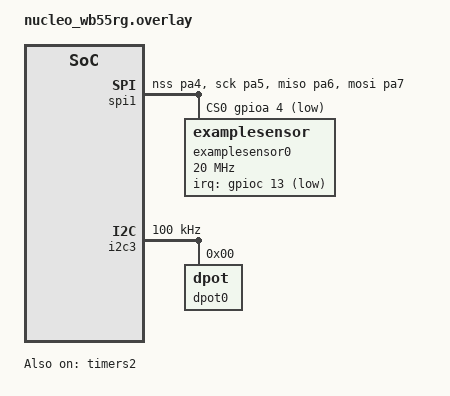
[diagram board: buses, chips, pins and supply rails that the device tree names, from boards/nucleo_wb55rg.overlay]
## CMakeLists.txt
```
#-------------------------------------------------------------------------------
# Zephyr Example Application
#
# Copyright (c) 2021 Nordic Semiconductor ASA
# SPDX-License-Identifier: Apache-2.0

cmake_minimum_required(VERSION 3.13.1)
find_package(Zephyr REQUIRED HINTS $ENV{ZEPHYR_BASE})

project(app LANGUAGES C VERSION 1.0.0)

configure_file(app_version.h.in ${CMAKE_BINARY_DIR}/app/include/app_version.h)
target_include_directories(app PRIVATE ${CMAKE_BINARY_DIR}/app/include src)

target_sources(app PRIVATE src/main.c)

#FILE(GLOB app_sources src/*.c)
FILE(GLOB app_sources src/egadc.c src/MCP356X.c src/MCP45HVX1.c src/dpot.c src/bt.c)
target_sources(app PRIVATE ${app_sources})
```

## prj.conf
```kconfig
# Copyright (c) 2021 Nordic Semiconductor ASA
# SPDX-License-Identifier: Apache-2.0
#
# This file contains selected Kconfig options for the application.


CONFIG_BT=y
CONFIG_BT_PERIPHERAL=y
CONFIG_BT_SMP=y
CONFIG_TINYCRYPT=y
CONFIG_BT_DEVICE_NAME="ESP peripheral"
CONFIG_BT_DIS=y
CONFIG_BT_DIS_PNP=n
CONFIG_BT_BAS=y
CONFIG_BT_DEVICE_APPEARANCE=768


#CONFIG_BT_MESH_ADV_STACK_SIZE=2048
#CONFIG_BT_RX_STACK_SIZE=4096
#CONFIG_MAIN_STACK_SIZE=2048


#CONFIG_SENSOR=y
#CONFIG_SPI_INIT_PRIORITY=70
#CONFIG_ADC_INIT_PRIORITY=71
CONFIG_SPI=y
#CONFIG_ADC=y
CONFIG_I2C=y



CONFIG_PRINTK=y
CONFIG_LOG=y
CONFIG_LOG_BUFFER_SIZE=2048
CONFIG_LOG_BACKEND_SHOW_COLOR=n

# This causes ***** MPU FAULT ***** when bluetooth is connecting
CONFIG_LOG_MODE_IMMEDIATE=n

CONFIG_NEWLIB_LIBC=y
CONFIG_NEWLIB_LIBC_FLOAT_PRINTF=y

CONFIG_BUILD_WITH_TFM=y
CONFIG_TFM_PROFILE_TYPE_MEDIUM=y
CONFIG_COUNTER=y
CONFIG_COUNTER_INIT_PRIORITY=50
CONFIG_COUNTER_TIMER_STM32=y
CONFIG_COUNTER_RTC_STM32=y
```

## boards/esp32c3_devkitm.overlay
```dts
/*
 * Copyright (c) 2021 Nordic Semiconductor ASA
 * SPDX-License-Identifier: Apache-2.0
 */

/* This devicetree overlay file will be automatically picked by the Zephyr
 * build system when building the sample for the nucleo_f302r8 board. It shows
 * how the example-application can be built on sample boards already provided
 * by Zephyr.
 */

/ {

};

&gpio0 {
	status = "okay";
};

// Connect cables as following:
// ADC PCB    cable color   ESP32C3-DevKitC
// =========================================
// ADC_CS     ---green----  SPIM2_CSEL_GPIO10
// ADC_SCK    ---white----  SPIM2_SCLK_GPIO6
// ADC_SDI    ---yellow---  SPIM2_MOSI_GPIO7
// ADC_SDO    ---gray-----  SPIM2_MISO_GPIO2
// ADC_INT    ---purple---  GPIO19

&spi2 {
    status = "okay";
    // pinctrl-0 = <&SPIM2_CSEL_GPIO10 &SPIM2_SCLK_GPIO6 &SPIM2_MISO_GPIO2 &SPIM2_MOSI_GPIO7>;
	pinctrl-0 = <&spim2_default>;
    // cs-gpios = <&gpio0 10 GPIO_ACTIVE_LOW>;
	examplesensor0: examplesensor@0 {
		compatible = "zephyr,examplesensor";
		spi-max-frequency = <2000000>;
        irq-gpios = <&gpio0 19 GPIO_ACTIVE_LOW>;
		reg = <0>;
	};
};
```

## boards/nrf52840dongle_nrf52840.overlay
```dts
/*
 * Copyright (c) 2021 Nordic Semiconductor ASA
 * SPDX-License-Identifier: Apache-2.0
 */

/* This devicetree overlay file will be automatically picked by the Zephyr
 * build system when building the sample for the nucleo_f302r8 board. It shows
 * how the example-application can be built on sample boards already provided
 * by Zephyr.
 */

/ {
	examplesensor0: examplesensor_0 {
		compatible = "zephyr,examplesensor";
		label = "EXAMPLESENSOR_0";
		input-gpios = <&gpio0 13 (GPIO_PULL_UP | GPIO_ACTIVE_LOW)>;
	};
};

&gpio0 {
	status = "okay";
};
```

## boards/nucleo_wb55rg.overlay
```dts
/*
 * Copyright (c) 2021 Nordic Semiconductor ASA
 * SPDX-License-Identifier: Apache-2.0
 */

/* This devicetree overlay file will be automatically picked by the Zephyr
 * build system when building the sample for the nucleo_f302r8 board. It shows
 * how the example-application can be built on sample boards already provided
 * by Zephyr.
 */

/ {

};

&gpioc {
	status = "okay";
};

// https://os.mbed.com/platforms/ST-Nucleo-WB55RG/
// https://github.com/zephyrproject-rtos/zephyr/blob/main/boards/arm/nucleo_wb55rg/nucleo_wb55rg.dts
// ADC pin CSK ---orange--- (PA5,D13,20,SCK)
// ADC pin SDO ---yellow--- (PA6,D12,21,MISO)
// ADC pin SDI ---green---- (PA7,D11,22,MOSI)
// ADC pin CS  ---white---- (PA4,D10)
// ADC pin INT ---blue----- (PC13,D7)
// https://github.com/zephyrproject-rtos/zephyr-testing/blob/0f09360456592ecf0d0413352dc1ef5d23cd0364/include/drivers/spi.h#L252
// https://github.com/zephyrproject-rtos/zephyr-testing/blob/2fc0ace3c2462cb33dc8c25e33c629cedba08ebb/boards/arm/rm1xx_dvk/rm1xx_dvk.dts#L60
// https://github.com/zephyrproject-rtos/zephyr/blob/ee91cd5665b1590c9a8a9a992bb19d81feeeb461/boards/arm/bt610/bt610.dts#L268


// Connect cables as following:
// ADC PCB |  cable color | CN10 | CN9 |ST-Nucleo-WB55RG
// ========|==============|======|=====|======
// ADC_CS  |  ---green----| 17   | D10 | (PA4)
// ADC_SCK |  ---white----| 11   | D13 | (PA5,20,SCK)
// ADC_SDI |  ---yellow---| 15   | D11 | (PA7,22,MOSI)
// ADC_SDO |  ---gray-----| 13   | D12 | (PA6,21,MISO)
// ADC_INT |  ---purple---| 23   | D7  | (PC13)



&spi1 {
    status = "okay";
    pinctrl-0 = <&spi1_nss_pa4 &spi1_sck_pa5 &spi1_miso_pa6 &spi1_mosi_pa7>;
    cs-gpios = <&gpioa 4 GPIO_ACTIVE_LOW>;
	examplesensor0: examplesensor@0 {
		compatible = "zephyr,examplesensor";
		spi-max-frequency = <20000000>;
        irq-gpios = <&gpioc 13 GPIO_ACTIVE_LOW>;
		reg = <0>;
	};
};

&i2c3 {
    status = "okay";
	clock-frequency = <I2C_BITRATE_STANDARD>;
	dpot0: dpot@0 {
		compatible = "zephyr,dpot";
		reg = <0>;
	};
};


&timers2 {
	status = "okay";
	counters2: counter {
		compatible = "st,stm32-counter";
		status = "okay";
		label = "COUNTER_2";
	};
};
```

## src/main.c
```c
/*
west build -p -b nucleo_wb55rg
west build -p -b esp32c3_devkitm

Timer for nucleo_wb55rg:
https://github.com/zephyrproject-rtos/zephyr/discussions/47033
https://github.com/zephyrproject-rtos/zephyr/blob/main/samples/drivers/counter/alarm/src/main.c

*/

#include <zephyr/device.h>
#include <zephyr/devicetree.h>
#include <zephyr/kernel.h>
#include <zephyr/drivers/spi.h>
#include <zephyr/drivers/counter.h>
#include <zephyr/sys/util.h>
#include <stdint.h>
#include <stdio.h>


#include "app_version.h"
#include "egadc.h"
#include "dpot.h"
#include "bt.h"

#include <zephyr/logging/log.h>
LOG_MODULE_REGISTER(main, CONFIG_APP_LOG_LEVEL);
//struct spi_dt_spec bus = SPI_DT_SPEC_GET(DT_NODELABEL(mcp3204), SPI_WORD_SET(8) | SPI_MODE_GET(0), 1);


// The ADC9 uses 2000mV voltage ref chip MCP1501
#define ADC9_VREF_MICRO_VOLT 2048*1000
#define TIABT_VREF_MICRO_VOLT 3000*1000




//#define TIMER DT_NODELABEL(counters2)

#if defined(CONFIG_BOARD_ATSAMD20_XPRO)
#define TIMER DT_NODELABEL(tc4)
#elif defined(CONFIG_SOC_FAMILY_SAM)
#define TIMER DT_NODELABEL(tc0)
#elif defined(CONFIG_COUNTER_MICROCHIP_MCP7940N)
#define TIMER DT_NODELABEL(extrtc0)
#elif defined(CONFIG_COUNTER_NRF_RTC)
#define TIMER DT_NODELABEL(rtc0)
#elif defined(CONFIG_COUNTER_TIMER_STM32)
#define TIMER DT_INST(0, st_stm32_counter)
#elif defined(CONFIG_COUNTER_RTC_STM32)
#define TIMER DT_INST(0, st_stm32_rtc)
#elif defined(CONFIG_COUNTER_SMARTBOND_TIMER)
#define TIMER DT_NODELABEL(timer3)
#elif defined(CONFIG_COUNTER_NATIVE_POSIX)
#define TIMER DT_NODELABEL(counter0)
#elif defined(CONFIG_COUNTER_XLNX_AXI_TIMER)
#define TIMER DT_INST(0, xlnx_xps_timer_1_00_a)
#elif defined(CONFIG_COUNTER_TMR_ESP32)
#define TIMER DT_NODELABEL(timer0)
#elif defined(CONFIG_COUNTER_MCUX_CTIMER)
#define TIMER DT_NODELABEL(ctimer0)
#elif defined(CONFIG_COUNTER_NXP_S32_SYS_TIMER)
#define TIMER DT_NODELABEL(stm0)
#elif defined(CONFIG_COUNTER_TIMER_GD32)
#define TIMER DT_NODELABEL(timer0)
#elif defined(CONFIG_COUNTER_GECKO_RTCC)
#define TIMER DT_NODELABEL(rtcc0)
#elif defined(CONFIG_COUNTER_GECKO_STIMER)
#define TIMER DT_NODELABEL(stimer0)
#elif defined(CONFIG_COUNTER_INFINEON_CAT1)
#define TIMER DT_NODELABEL(counter0_0)
#elif defined(CONFIG_COUNTER_AMBIQ)
#define TIMER DT_NODELABEL(counter0)
#elif defined(CONFIG_COUNTER_SNPS_DW)
#define TIMER DT_NODELABEL(timer0)
#endif




#if DT_NODE_HAS_STATUS(TIMER, okay)
const struct device *const counter_dev = DEVICE_DT_GET(TIMER);
#else
#error "Node is disabled"
#endif


struct counter_alarm_cfg alarm_cfg;


void app_print_voltage(struct mcp356x_config * c)
{
	// In single channel mode, any channel will be stored in channel 0:
	int index = MCP356X_CH_CH0;
	int32_t v_iir = MCP356X_raw_to_volt(c->raw_iir[index], TIABT_VREF_MICRO_VOLT, c->gain_reg);
	int32_t v_min = MCP356X_raw_to_volt(c->raw_min[index], TIABT_VREF_MICRO_VOLT, c->gain_reg);
	int32_t v_max = MCP356X_raw_to_volt(c->raw_max[index], TIABT_VREF_MICRO_VOLT, c->gain_reg);
	int32_t v_pp = v_max - v_min;
	printk("IRQ:%-3i DRDY:%-3i avg:%-8i min:%-8i max:%-8i pp:%-8i\n", c->num_irq, c->num_drdy, v_iir, v_min, v_max, v_pp);
	printk("IRQ:%-3i DRDY:%-3i avg:%-8i min:%-8i max:%-8i pp:%-8i\n", c->num_irq, c->num_drdy, v_iir, v_min, v_max, v_pp);
}

void app_print_voltage_ref(struct mcp356x_config * c)
{
	LOG_INF("Checking voltage reference");
	egadc_adc_value_reset(c);
	egadc_set_mux(c, MCP356X_MUX_VIN_NEG_AGND | MCP356X_MUX_VIN_POS_VREF_EXT_PLUS);
	int n = 10;
	while (n--)
	{
		app_print_voltage(c);
		egadc_adc_value_reset(c);
		k_sleep(K_MSEC(500));
	}
}

void app_print_temperature(struct mcp356x_config * c)
{
	egadc_adc_value_reset(c);
	LOG_INF("Checking temperature MCP356X_MUX_VIN_POS_TEMP");
	egadc_set_ch(c, MCP356X_CH_TEMP);
	int n = 10;
	while (n--)
	{
		int raw = c->raw_iir[MCP356X_CH_CH0];
		// TODO: I can't figure out why datasheet temperature transfer function does not work.
		//double celsius  = MCP356X_ADCDATA_to_temperature_o1(raw) * ((double)TIABT_VREF/(double)3300);
		//double celcius  = MCP356X_ADCDATA_to_temperature_o3(raw);

		// If we convert raw ADCDATA to millivolt then use datasheet celsius to mv function (we get correct temperature?)
		// https://www.eevblog.com/forum/microcontrollers/problems-with-internal-temperature-sensor-mcp3561/
		int32_t v = MCP356X_raw_to_volt(raw, TIABT_VREF_MICRO_VOLT, c->gain_reg);
		double celsius = ((double)v -79.32) / (0.2964*10000);
		printf("%08i %08i %20.10f C\n", raw, v, celsius);
		//printf("%04i %f C\n", voltage, celcius * (c->vref_mv / 3.3));
		k_sleep(K_MSEC(500));
	}
}









enum app_state
{
	APP_START,
	APP_WAITING,
	APP_INIT_ADC,
	APP_PRINT_ADC
};



struct mcp356x_config c = {
	.bus = SPI_DT_SPEC_GET(DT_NODELABEL(examplesensor0), SPI_WORD_SET(8) | SPI_MODE_GET(0), 1),
	.irq = GPIO_DT_SPEC_GET(DT_NODELABEL(examplesensor0), irq_gpios),
	.is_scan = false,
	//.gain_reg = MCP356X_CFG_2_GAIN_X_033,
	.gain_reg = MCP356X_CFG_2_GAIN_X_1,
};


struct mcp45hvx1_config c1 = {
	.bus = I2C_DT_SPEC_GET(DT_NODELABEL(dpot0))
};



enum my_leds
{
	MY_LEDS_OTHER,
	MY_LEDS_BEATS,
	MY_LEDS_WAITING,
	MY_LEDS_COUNT
};

#define LEDS_COUNT 3
static const struct gpio_dt_spec leds[LEDS_COUNT] = 
{
	GPIO_DT_SPEC_GET(DT_NODELABEL(blue_led_1), gpios), //Blue
	GPIO_DT_SPEC_GET(DT_NODELABEL(green_led_2), gpios), //Green
	GPIO_DT_SPEC_GET(DT_NODELABEL(green_led_3), gpios), //Red
};

#define DELAY 2000000
#define ALARM_CHANNEL_ID 0



static int dpot_inc = 0;
static uint8_t pot = 0;

static void test_counter_interrupt_fn(const struct device *counter_dev,uint8_t chan_id, uint32_t ticks,void *user_data)
{
	struct counter_alarm_cfg *config = user_data;
	uint32_t now_ticks;
	uint64_t now_usec;
	int now_sec;
	int err;

	err = counter_get_value(counter_dev, &now_ticks);
	if (err) {
		printk("Failed to read counter value (err %d)", err);
		return;
	}

	now_usec = counter_ticks_to_us(counter_dev, now_ticks);
	now_sec = (int)(now_usec / USEC_PER_SEC);
	dpot_inc = 1;
	//printk("dpot_inc %i\n", dpot_inc);

	//printk("!!! Alarm !!!\n");
	//printk("Now: %u\n", now_sec);

	/* Set a new alarm with a double length duration */
	config->ticks = config->ticks;

	//printk("Set alarm in %u sec (%u ticks)\n",(uint32_t)(counter_ticks_to_us(counter_dev,config->ticks) / USEC_PER_SEC),config->ticks);

	err = counter_set_channel_alarm(counter_dev, ALARM_CHANNEL_ID,
					user_data);
	if (err != 0) {
		printk("Alarm could not be set\n");
	}
}




int main(void)
{
	LOG_INF("examplesensor0 %s", "" DT_NODE_PATH(DT_NODELABEL(examplesensor0)));
	LOG_INF("dpot0 %s", "" DT_NODE_PATH(DT_NODELABEL(dpot0)));

	
	if (!device_is_ready(counter_dev)) {
		LOG_ERR("Timer device not ready.\n");
		return 0;
	}

	if (!spi_is_ready_dt(&c.bus)) {
		LOG_ERR("SPI bus is not ready %i", 0);
		return 0;
	}

	if (!i2c_is_ready_dt(&c1.bus)) {
		LOG_ERR("Failed to get pointer to %s device!", c1.bus.bus->name);
		return -EINVAL;
	}
	
	mybt_init();

	while(1) {
		mybt_progress();
		k_sleep(K_SECONDS(1));
	}

	/*
	dpot_setup(&c1);



	
	counter_start(counter_dev);
	alarm_cfg.flags = 0;
	alarm_cfg.ticks = counter_us_to_ticks(counter_dev, DELAY);
	alarm_cfg.callback = test_counter_interrupt_fn;
	alarm_cfg.user_data = &alarm_cfg;
	printk("Set alarm in %u sec (%u ticks)\n",
	       (uint32_t)(counter_ticks_to_us(counter_dev,
					   alarm_cfg.ticks) / USEC_PER_SEC),
	       alarm_cfg.ticks);
		   
	{
		int err = counter_set_channel_alarm(counter_dev, ALARM_CHANNEL_ID, &alarm_cfg);
		if (-EINVAL == err) {
			printk("Alarm settings invalid\n");
		} else if (-ENOTSUP == err) {
			printk("Alarm setting request not supported\n");
		} else if (err != 0) {
			printk("Error\n");
		}
	}
	
	while(1) {
		if(dpot_inc){
			dpot_set(&c1, pot++);
			dpot_inc = 0;
		};
		mybt_progress();
		k_sleep(K_MSEC(1));
	}
	//mybt_init();
	//while (1){k_sleep(K_MSEC(5000));}

	


	for(int i = 0; i < LEDS_COUNT; ++i)
	{
		int ret;
		if (!gpio_is_ready_dt(leds+i)) {return 0;}
		ret = gpio_pin_configure_dt(leds+i, GPIO_OUTPUT_ACTIVE);
		if (ret < 0) {return 0;}
		k_sleep(K_MSEC(500));
		ret = gpio_pin_set_dt(leds+i,1);
		if (ret < 0) {return 0;}
	}
	k_sleep(K_MSEC(500));
	for(int i = 0; i < LEDS_COUNT; ++i)
	{
		int ret = gpio_pin_set_dt(leds+i,0);
		if (ret < 0) {return 0;}
	}



	int appstate = APP_START;

	while (1)
	{
		{
			int ret = gpio_pin_toggle_dt(leds+MY_LEDS_BEATS);
			if (ret < 0) {return 0;}
		}

		if(c.status & EGADC_TIMEOUT_BIT)
		{
			appstate = APP_INIT_ADC;
			c.status &= ~EGADC_TIMEOUT_BIT;
		}


		switch (appstate)
		{
		case APP_WAITING:
			if(c.num_drdy > 0)
			{
				//app_print_voltage_ref(&c);
				//app_print_temperature(&c);
				egadc_set_ch(&c, MCP356X_CH_CH3);
				appstate = APP_PRINT_ADC;
			}
			else
			{
				LOG_INF("APP_WAITING No respond from ADC");
				gpio_pin_set_dt(leds + MY_LEDS_WAITING, 1);
				k_sleep(K_MSEC(500));
				gpio_pin_set_dt(leds + MY_LEDS_WAITING, 0);
				k_sleep(K_MSEC(500));
			}
			break;

		case APP_START:
			LOG_INF("APP_START");
			egadc_setup_board(&c);
			appstate = APP_INIT_ADC;
			break;

		case APP_INIT_ADC:
			LOG_INF("APP_INIT_ADC");
			egadc_setup_adc(&c);
			appstate = APP_WAITING;
			break;

		case APP_PRINT_ADC:{
			k_sleep(K_MSEC(1000));
			app_print_voltage(&c);
			egadc_adc_value_reset(&c);
			break;}

		default:
			break;
		}




		//printk("%08X\n", c.lastdata);
		
		
		//printk("%8i %8i\n", c.num_irq, c.num_drdy);
		//printk("    " MCP356X_PRINTF_HEADER "\n");
		//printk("avg " MCP356X_PRINTF_PLUS "\n", MCP356X_ARGS(c.avg));
		//printk("min " MCP356X_PRINTF_PLUS "\n", MCP356X_ARGS(c.val_min));
		//printk("max " MCP356X_PRINTF_PLUS "\n", MCP356X_ARGS(c.val_max));
		//printk("n   " MCP356X_PRINTF_PLUS "\n", MCP356X_ARGS(c.n));
		
		//egadc_log_REG_IRQ(&c.bus, MCP356X_REG_IRQ);

		
		
		//mybt_progress();
		//bt_bas_set_battery_level(i++);

		//k_sem_give(&c.acq_sem);
	}
	*/
}
```

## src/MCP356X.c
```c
#include "MCP356X.h"


char const * MCP356X_REG_tostring(int a)
{
	switch(a)
	{
	case MCP356X_REG_ADC_DATA    : return "MCP356X_REG_ADC_DATA    ";
	case MCP356X_REG_CFG_0       : return "MCP356X_REG_CFG_0       ";
	case MCP356X_REG_CFG_1       : return "MCP356X_REG_CFG_1       ";
	case MCP356X_REG_CFG_2       : return "MCP356X_REG_CFG_2       ";
	case MCP356X_REG_CFG_3       : return "MCP356X_REG_CFG_3       ";
	case MCP356X_REG_IRQ         : return "MCP356X_REG_IRQ         ";
	case MCP356X_REG_MUX         : return "MCP356X_REG_MUX         ";
	case MCP356X_REG_SCAN        : return "MCP356X_REG_SCAN        ";
	case MCP356X_REG_TIMER       : return "MCP356X_REG_TIMER       ";
	case MCP356X_REG_OFFSET_CAL  : return "MCP356X_REG_OFFSET_CAL  ";
	case MCP356X_REG_GAIN_CAL    : return "MCP356X_REG_GAIN_CAL    ";
	case MCP356X_RSV_REG_W_A     : return "MCP356X_RSV_REG_W_A     ";
	case MCP356X_REG_LOCK        : return "MCP356X_REG_LOCK        ";
	case MCP356X_RSV_REG         : return "MCP356X_RSV_REG         ";
	case MCP356X_REG_CRC_CFG     : return "MCP356X_REG_CRC_CFG     ";
	default:return "";
	}
}







/*
111 = Gain is x64 (x16 analog, x4 digital)
110 = Gain is x32 (x16 analog, x2 digital)
101 = Gain is x16
100 = Gain is x8
011 = Gain is x4
010 = Gain is x2
001 = Gain is x1 (default)
000 = Gain is x1/3


Formula

ADC * VREF / (COEF * GAIN)



*/

int32_t MCP356X_raw_to_millivolt(int32_t raw, int32_t vref_mv, uint8_t gain_reg)
{
	int32_t c = (MCP356X_CALC_COEF / vref_mv);
	switch(gain_reg)
	{
	case MCP356X_CFG_2_GAIN_X_64  : c *= 64; break;
	case MCP356X_CFG_2_GAIN_X_32  : c *= 32; break;
	case MCP356X_CFG_2_GAIN_X_16  : c *= 16; break;
	case MCP356X_CFG_2_GAIN_X_8   : c *= 8; break;
	case MCP356X_CFG_2_GAIN_X_4   : c *= 4; break;
	case MCP356X_CFG_2_GAIN_X_2   : c *= 2; break;
	case MCP356X_CFG_2_GAIN_X_1   : c *= 1; break;
	case MCP356X_CFG_2_GAIN_X_033 : c /= 3; break;
	}
	int32_t mv;
	mv = raw / c;
	return mv;
}


int64_t MCP356X_raw_to_volt(int32_t raw, int32_t vref, uint8_t gain_reg)
{
	//return MCP356X_raw_to_millivolt(raw, vref, gain_reg);
	int64_t numerator = (int64_t)raw * (int64_t)vref;
	int64_t denominator = MCP356X_CALC_COEF;
	switch(gain_reg)
	{
	case MCP356X_CFG_2_GAIN_X_64  : denominator *= 64; break;
	case MCP356X_CFG_2_GAIN_X_32  : denominator *= 32; break;
	case MCP356X_CFG_2_GAIN_X_16  : denominator *= 16; break;
	case MCP356X_CFG_2_GAIN_X_8   : denominator *= 8; break;
	case MCP356X_CFG_2_GAIN_X_4   : denominator *= 4; break;
	case MCP356X_CFG_2_GAIN_X_2   : denominator *= 2; break;
	case MCP356X_CFG_2_GAIN_X_1   : denominator *= 1; break;
	case MCP356X_CFG_2_GAIN_X_033 : denominator /= 3; break;
	}
	int64_t result = numerator / denominator;
	return result;
}





/*
In DATA_FORMAT[1:0] = 11, the output code is similar
to the one in DATA_FORMAT[1:0] = 10. The only differ-
ence resides in the four MSbs of the first byte, which
are no longer repeats of the Sign bit (SGN). They are
the Channel ID data (CH_ID[3:0]) that are defined in
Table 5-14. This CH_ID[3:0] word can be used to verify
that the right channel has been converted to SCAN
mode and can serve easy data retrieval and logging
(see Section 5.14 “SCAN Mode” for more details
about the SCAN mode). In MUX mode, this 4-bit word
is defaulted to ‘0000’ and does not vary with the
MUX[7:0] selection. This format is useful for 32-bit
MCU applications.
*/
void MCP356X_ADC_DATA_decode_11(uint8_t rx[5], int32_t * out_value, uint8_t * out_channel)
{
	(*out_channel) = (rx[1] >> 4) & 0x0F;
	uint8_t sign = rx[1] & 0x01;
	(*out_value) = (rx[2] << 16) | (rx[3] << 8) | (rx[4] << 0);
	if (sign != 0)
	{
		(*out_value) -= 16777215;
	}
}




uint32_t MCP356X_get_len(uint8_t reg)
{
	switch(reg)
	{
	case MCP356X_REG_ADC_DATA:
		return 4; // 32 bit
	case MCP356X_REG_CFG_0:
	case MCP356X_REG_CFG_1:
	case MCP356X_REG_CFG_2:
	case MCP356X_REG_CFG_3:
	case MCP356X_REG_IRQ:
	case MCP356X_REG_MUX:
		return 1; // 8 bit
	case MCP356X_REG_SCAN:
	case MCP356X_REG_TIMER:
	case MCP356X_REG_OFFSET_CAL:
	case MCP356X_REG_GAIN_CAL:
	case MCP356X_RSV_REG_W_A:
		return 3; // 24 bit
	case MCP356X_REG_C:
	case MCP356X_REG_LOCK:
		return 1; // 8 bit
	case MCP356X_RSV_REG:
	case MCP356X_REG_CRC_CFG:
		return 2; // 16 bit
	default:
		return 0;
		break;
	}
}


uint32_t MCP356X_get_value(uint8_t rx[5], uint8_t len)
{
	switch (len)
	{
	case 1: return (rx[1] << 0);
	case 2: return (rx[1] << 8) | (rx[2] << 0);
	case 3: return (rx[1] << 16) | (rx[2] << 8) | (rx[3] << 0);
	case 4: return (rx[1] << 24) | (rx[2] << 16) | (rx[3] << 8) | (rx[4] << 0);
	default: return 0;
	}
}


void MCP356X_set_value(uint8_t tx[5], uint8_t len, uint32_t value)
{
	switch (len)
	{
	case 1:
		tx[1] = ( value >> 0 ) & 0xFF;
		break;
	case 2:
		tx[1] = ( value >> 8 ) & 0xFF;
		tx[2] = ( value >> 0 ) & 0xFF;
		break;
	case 3:
		tx[1] = ( value >> 16 ) & 0xFF;
		tx[2] = ( value >> 8 ) & 0xFF;
		tx[3] = ( value >> 0 ) & 0xFF;
		break;
	case 4:
		tx[1] = ( value >> 24 ) & 0xFF;
		tx[2] = ( value >> 16 ) & 0xFF;
		tx[3] = ( value >> 8 ) & 0xFF;
		tx[4] = ( value >> 0 ) & 0xFF;
		break;
	default:
		tx[1] = 0;
		tx[2] = 0;
		tx[3] = 0;
		tx[4] = 0;
		break;
	}
}



uint8_t MCP356X_get_scan_channel_gain(uint8_t channel)
{
	switch (channel)
	{
	case MCP356X_CH_OFFSET  : return MCP356X_CFG_2_GAIN_X_1;
	case MCP356X_CH_VCM     : return MCP356X_CFG_2_GAIN_X_1;
	case MCP356X_CH_AVDD    : return MCP356X_CFG_2_GAIN_X_033;
	case MCP356X_CH_TEMP    : return MCP356X_CFG_2_GAIN_X_1;
	case MCP356X_CH_DIFF_D  : return MCP356X_CFG_2_GAIN_X_1;
	case MCP356X_CH_DIFF_C  : return MCP356X_CFG_2_GAIN_X_1;
	case MCP356X_CH_DIFF_B  : return MCP356X_CFG_2_GAIN_X_1;
	case MCP356X_CH_DIFF_A  : return MCP356X_CFG_2_GAIN_X_1;
	case MCP356X_CH_CH7     : return MCP356X_CFG_2_GAIN_X_1;
	case MCP356X_CH_CH6     : return MCP356X_CFG_2_GAIN_X_1;
	case MCP356X_CH_CH5     : return MCP356X_CFG_2_GAIN_X_1;
	case MCP356X_CH_CH4     : return MCP356X_CFG_2_GAIN_X_1;
	case MCP356X_CH_CH3     : return MCP356X_CFG_2_GAIN_X_1;
	case MCP356X_CH_CH2     : return MCP356X_CFG_2_GAIN_X_1;
	case MCP356X_CH_CH1     : return MCP356X_CFG_2_GAIN_X_1;
	case MCP356X_CH_CH0     : return MCP356X_CFG_2_GAIN_X_1;
	default                 : return 0xFF;
	}
}





char const * MCP356X_MUX_POS_to_str(uint32_t value)
{
	switch(value & 0xF0)
	{
		case MCP356X_MUX_VIN_POS_VCM            : return "VCM           ";
		case MCP356X_MUX_VIN_POS_TEMP_M         : return "TEMP_M        ";
		case MCP356X_MUX_VIN_POS_TEMP_P         : return "TEMP_P        ";
		case MCP356X_MUX_VIN_POS_VREF_EXT_MINUS : return "VREF_EXT_MINUS";
		case MCP356X_MUX_VIN_POS_VREF_EXT_PLUS  : return "VREF_EXT_PLUS ";
		case MCP356X_MUX_VIN_POS_VREF_INT       : return "VREF_INT      ";
		case MCP356X_MUX_VIN_POS_AVDD           : return "AVDD          ";
		case MCP356X_MUX_VIN_POS_AGND           : return "AGND          ";
		case MCP356X_MUX_VIN_POS_CH7            : return "CH7           ";
		case MCP356X_MUX_VIN_POS_CH6            : return "CH6           ";
		case MCP356X_MUX_VIN_POS_CH5            : return "CH5           ";
		case MCP356X_MUX_VIN_POS_CH4            : return "CH4           ";
		case MCP356X_MUX_VIN_POS_CH3            : return "CH3           ";
		case MCP356X_MUX_VIN_POS_CH2            : return "CH2           ";
		case MCP356X_MUX_VIN_POS_CH1            : return "CH1           ";
		case MCP356X_MUX_VIN_POS_CH0            : return "CH0           ";
		default: return "";
	}
}

char const * MCP356X_MUX_NEG_to_str(uint32_t value)
{
	switch(value & 0x0F)
	{
		case MCP356X_MUX_VIN_NEG_VCM            : return "VCM           ";
		case MCP356X_MUX_VIN_NEG_TEMP_M         : return "TEMP_M        ";
		case MCP356X_MUX_VIN_NEG_TEMP_P         : return "TEMP_P        ";
		case MCP356X_MUX_VIN_NEG_VREF_EXT_MINUS : return "VREF_EXT_MINUS";
		case MCP356X_MUX_VIN_NEG_VREF_EXT_PLUS  : return "VREF_EXT_PLUS ";
		case MCP356X_MUX_VIN_NEG_VREF_INT       : return "VREF_INT      ";
		case MCP356X_MUX_VIN_NEG_AVDD           : return "AVDD          ";
		case MCP356X_MUX_VIN_NEG_AGND           : return "AGND          ";
		case MCP356X_MUX_VIN_NEG_CH7            : return "CH7           ";
		case MCP356X_MUX_VIN_NEG_CH6            : return "CH6           ";
		case MCP356X_MUX_VIN_NEG_CH5            : return "CH5           ";
		case MCP356X_MUX_VIN_NEG_CH4            : return "CH4           ";
		case MCP356X_MUX_VIN_NEG_CH3            : return "CH3           ";
		case MCP356X_MUX_VIN_NEG_CH2            : return "CH2           ";
		case MCP356X_MUX_VIN_NEG_CH1            : return "CH1           ";
		case MCP356X_MUX_VIN_NEG_CH0            : return "CH0           ";
		default: return "";
	}
}


// DS20006181C-page 34
// EQUATION 5-1: TEMPERATURE SENSOR TRANSFER FUNCTION
double MCP356X_ADCDATA_to_temperature_o1(int32_t adcdata)
{
	float ret = 0.00133 * adcdata - 267.146;
	return ret;
}

double MCP356X_ADCDATA_to_temperature_o3(int32_t adcdata)
{
	const double a3 = -3.904E-15;
	const double a2 = 3.814E-9;
	const double a1 = 0.0002;
	double ret = 
	a1 * (adcdata * adcdata * adcdata) + 
	a2 * (adcdata * adcdata) + 
	a3 * (adcdata) - 163.978;
	return ret;
}






// TABLE 5-14: ADC CHANNEL SELECTION
// DS20006181C-page 54
uint8_t MCP356X_channel_to_mux(uint8_t channel)
{
	switch (channel)
	{
	case MCP356X_CH_CH0: return MCP356X_MUX_VIN_NEG_AGND | MCP356X_MUX_VIN_POS_CH0;
	case MCP356X_CH_CH1: return MCP356X_MUX_VIN_NEG_AGND | MCP356X_MUX_VIN_POS_CH1;
	case MCP356X_CH_CH2: return MCP356X_MUX_VIN_NEG_AGND | MCP356X_MUX_VIN_POS_CH2;
	case MCP356X_CH_CH3: return MCP356X_MUX_VIN_NEG_AGND | MCP356X_MUX_VIN_POS_CH3;
	case MCP356X_CH_CH4: return MCP356X_MUX_VIN_NEG_AGND | MCP356X_MUX_VIN_POS_CH4;
	case MCP356X_CH_CH5: return MCP356X_MUX_VIN_NEG_AGND | MCP356X_MUX_VIN_POS_CH5;
	case MCP356X_CH_CH6: return MCP356X_MUX_VIN_NEG_AGND | MCP356X_MUX_VIN_POS_CH6;
	case MCP356X_CH_DIFF_A: return MCP356X_MUX_VIN_NEG_CH1 | MCP356X_MUX_VIN_POS_CH0;
	case MCP356X_CH_DIFF_B: return MCP356X_MUX_VIN_NEG_CH3 | MCP356X_MUX_VIN_POS_CH2;
	case MCP356X_CH_DIFF_C: return MCP356X_MUX_VIN_NEG_CH5 | MCP356X_MUX_VIN_POS_CH4;
	case MCP356X_CH_DIFF_D: return MCP356X_MUX_VIN_NEG_CH7 | MCP356X_MUX_VIN_POS_CH6;
	case MCP356X_CH_TEMP: return MCP356X_MUX_VIN_NEG_TEMP_M | MCP356X_MUX_VIN_POS_TEMP_P;
	case MCP356X_CH_AVDD: return MCP356X_MUX_VIN_NEG_AGND | MCP356X_MUX_VIN_POS_AVDD;
	case MCP356X_CH_VCM: return MCP356X_MUX_VIN_NEG_VCM | MCP356X_MUX_VIN_POS_CH0;
	case MCP356X_CH_OFFSET: return MCP356X_MUX_VIN_NEG_AGND | MCP356X_MUX_VIN_NEG_AGND;
	}
	return 0;
}
```

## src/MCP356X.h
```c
#pragma once
#include <stdint.h>

// https://github.com/MikroElektronika/mikrosdk_click_v2
// https://github.com/MikroElektronika/mikrosdk_click_v2/tree/master/clicks/adc9
// https://github.com/jspark311/MCP356x-Breakout/blob/6cc57254ad991eba59b2607941b86dc148f06eaf/Arduino/src/MCP356x.cpp
// 





/*****************************************************************
6.2.1 COMMAND BYTE STRUCTURE
The COMMAND byte fully defines the command that
will be executed by the part. This byte is divided into
three parts: the device address bits (CMD[7:6]), the
command address bits (CMD[5:2]) and the
command-type bits (CMD[1:0]).
*****************************************************************/
#define MCP356X_COMMAND_BYTE(addr, cmd, type) (((addr)<<6) | ((cmd)<<2) | ((type)<<0))

/*****************************************************************
6.2.2 DEVICE ADDRESS BITS (CMD[7:6])
The SPI interface of the MCP3561/2/4 devices is
addressable, which means that multiple devices can
communicate on the same SPI bus with only one Chip
Select line for all devices. Each device communication
starts by a CS falling edge, followed by the clocking of
the device address (CMD[7:6]). Each device contains
an internal device address which the device can
respond to.
This address is coded on two bits, so four possible
addresses are available. Device address is hard-coded
within the device and should be determined when
ordering the device. The device address is part of the
device markings to avoid potential confusion (see
Sections 9.1 “Package Marking Information(1)”).
When the CMD[7:6] bits match the device address, the
communication will proceed and the part will execute
the commands defined in the control byte and its
subsequent data bytes.
When the CMD[7:6] bits do not correspond to the
address hard-coded in the device, the command is
ignored. In this case, the SDO output will become
high-impedance, which prevents bus contention errors
when multiple devices are connected on the same SPI
bus (see Figure 6-2). The user has to exit from this
communication through a CS rising edge to be able to
launch another command.
*****************************************************************/
#define MCP356X_DEVICE_ADR                   0x01 // CMD[7:6]

/*****************************************************************
6.2.4 COMMAND-TYPE BITS (CMD[1:0])
The last two bits of the COMMAND register byte define
the command type. These bits are an extension of the
typical read/write bits present in most SPI communica-
tion protocols. The two bits define four possible
command types: Incremental Write, Incremental Read,
Static Read and Fast command. Changing the com-
mand type within the same communication (while CS is
logic low) is not possible. The communication has to be
stopped (CS rising edge) and restarted (CS falling
edge) to change its command type.
*****************************************************************/
#define MCP356X_CMD_DONT_CARE                0x00
#define MCP356X_CMD_STAT_READ                0x01
#define MCP356X_CMD_INC_WRITE                0x02
#define MCP356X_CMD_INC_READ                 0x03

/*****************************************************************
8.0 INTERNAL REGISTERS
The MCP3561/2/4 devices have a total of 16 internal
registers made of volatile memory.
*****************************************************************/

/*
8.1 ADCDATA Register
The data can be
formatted in 24/32-bit modes depending on the DATA_FORMAT
*/
#define MCP356X_REG_ADC_DATA                 0x00 // | 4/24/32 | R  | 
#define MCP356X_REG_CFG_0                    0x01 // | 8       | RW | 
#define MCP356X_REG_CFG_1                    0x02 // | 8       | RW | 
#define MCP356X_REG_CFG_2                    0x03 // | 8       | RW | 
#define MCP356X_REG_CFG_3                    0x04 // | 8       | RW | 
#define MCP356X_REG_IRQ                      0x05 // | 8       | RW | 
#define MCP356X_REG_MUX                      0x06 // | 8       | RW | 
#define MCP356X_REG_SCAN                     0x07 // | 24      | RW | 
#define MCP356X_REG_TIMER                    0x08 // | 24      | RW | 
#define MCP356X_REG_OFFSET_CAL               0x09 // | 24      | RW | 
#define MCP356X_REG_GAIN_CAL                 0x0A // | 24      | RW | 
#define MCP356X_RSV_REG_W_A                  0x0B // | 24      | RW | 
#define MCP356X_REG_C                        0x0C // | 8       | RW | 
#define MCP356X_REG_LOCK                     0x0D // | 8       | RW | 
#define MCP356X_RSV_REG                      0x0E // | 16      | RW | 
#define MCP356X_REG_CRC_CFG                  0x0F // | 16      | R  | 



/*
Address Register Name No. of
Bits R/W Description
0x0 ADCDATA 4/24/32 R Latest A/D conversion data output value (24 or 32 bits depending on
DATA_FORMAT[1:0]) or modulator output stream (4-bit wide) in MDAT
Output mode
0x1 CONFIG0 8 R/W ADC Operating mode, Master Clock mode and Input Bias Current
Source mode
0x2 CONFIG1 8 R/W Prescale and OSR settings
0x3 CONFIG2 8 R/W ADC boost and gain settings, auto-zeroing settings for analog
multiplexer, voltage reference and ADC
0x4 CONFIG3 8 R/W Conversion mode, data and CRC format settings; enable for CRC on
communications, enable for digital offset and gain error calibrations
0x5 IRQ 8 R/W IRQ Status bits and IRQ mode settings; enable for Fast commands and
for conversion start pulse
0x6 MUX 8 R/W Analog multiplexer input selection (MUX mode only)
0x7 SCAN 24 R/W SCAN mode settings
0x8 TIMER 24 R/W Delay value for TIMER between scan cycles
0x9 OFFSETCAL 24 R/W ADC digital offset calibration value
0xA GAINCAL 24 R/W ADC digital gain calibration value
0xB RESERVED 24 R/W
0xC RESERVED 8 R/W
0xD LOCK 8 R/W Password value for SPI Write mode locking
0xE RESERVED 16 R/W
0xF CRCCFG 16 R CRC checksum for device configuration
*/





















/*****************************************************************
8.2 CONFIG0 Register
ADC Operating mode, Master Clock mode and Input Bias Current
Source mode
******************************************************************/
// Full Shutdown Mode Enable
#define MCP356X_CFG_0_VREF_SEL_0             0x00
#define MCP356X_CFG_0_VREF_SEL_1             0x40
#define MCP356X_CFG_0_VREF_SEL_2             0x80
#define MCP356X_CFG_0_VREF_SEL_3             0xC0
// Clock Selection
#define MCP356X_CFG_0_CLK_SEL_0              0x00
#define MCP356X_CFG_0_CLK_SEL_1              0x10
#define MCP356X_CFG_0_CLK_SEL_2              0x20
#define MCP356X_CFG_0_CLK_SEL_3              0x30
// Current Source/Sink Selection Bits for Sensor Bias (source on VIN+/sink on VIN-)
#define MCP356X_CFG_0_CS_SEL_0               0x00
#define MCP356X_CFG_0_CS_SEL_1               0x04
#define MCP356X_CFG_0_CS_SEL_2               0x08
#define MCP356X_CFG_0_CS_SEL_3               0x0C
// ADC Operating Mode Selection
#define MCP356X_CFG_0_MODE_SHD_DEF           0x00
#define MCP356X_CFG_0_MODE_SHD               0x01
#define MCP356X_CFG_0_MODE_STANDBY           0x02
#define MCP356X_CFG_0_MODE_CONV              0x03




/******************************************************************
8.3 CONFIG1 Register
Prescale and OSR settings
******************************************************************/
// Prescaler Value Selection for AMCLK
#define MCP356X_CFG_1_PRE_1                  0x00
#define MCP356X_CFG_1_PRE_2                  0x40
#define MCP356X_CFG_1_PRE_4                  0x80
#define MCP356X_CFG_1_PRE_8                  0xC0
// Oversampling Ratio for Delta-Sigma A/D Conversion
#define MCP356X_CFG_1_OSR_98304              0x3C
#define MCP356X_CFG_1_OSR_81920              0x38
#define MCP356X_CFG_1_OSR_49152              0x34
#define MCP356X_CFG_1_OSR_40960              0x30
#define MCP356X_CFG_1_OSR_24576              0x2C
#define MCP356X_CFG_1_OSR_20480              0x28
#define MCP356X_CFG_1_OSR_16384              0x24
#define MCP356X_CFG_1_OSR_8192               0x20
#define MCP356X_CFG_1_OSR_4096               0x1C
#define MCP356X_CFG_1_OSR_2048               0x18
#define MCP356X_CFG_1_OSR_1024               0x14
#define MCP356X_CFG_1_OSR_512                0x10
#define MCP356X_CFG_1_OSR_256                0x0C
#define MCP356X_CFG_1_OSR_128                0x08
#define MCP356X_CFG_1_OSR_64                 0x04
#define MCP356X_CFG_1_OSR_32                 0x00
// RESERVED[1:0]: Should always be set to ‘00’
#define MCP356X_CFG_1_DITHER_MAX             0x03
#define MCP356X_CFG_1_DITHER_MED             0x02
#define MCP356X_CFG_1_DITHER_MIN             0x01
#define MCP356X_CFG_1_DITHER_DEF             0x00





/******************************************************************
8.4 CONFIG2 Register
ADC boost and gain settings, auto-zeroing settings for analog
multiplexer, voltage reference and ADC
******************************************************************/
// ADC Bias Current Selection
#define MCP356X_CFG_2_BOOST_X_2              0xC0
#define MCP356X_CFG_2_BOOST_X_1              0x80
#define MCP356X_CFG_2_BOOST_X_066            0x40
#define MCP356X_CFG_2_BOOST_X_05             0x00
/*
5.3.1
ANALOG GAIN
The gain settings from 0.33x to 16x are done in the
analog domain. This analog gain is placed on each ADC
differential input. Each doubling of the gain improves the
thermal noise due to sampling by approximately 3 dB,
which means the lowest noise configuration is obtained
when using the highest analog gain. The SNR, however,
is degraded, since doubling the gain factor reduces the
maximum allowable input signal amplitude by
approximately 6 dB.
If the gain is set to 0.33x, the differential input range
theoretically becomes ±3 * VREF. However, the device
does not support input voltages outside of the power
supply voltage range. If large reference voltages are
used with this gain, the input voltage range will be
clipped between AGND and AVDD, and therefore, the
output code span will be limited. This gain is useful
when the reference voltage is small and when the
input signal voltage is large.
The analog gain stage can be used to amplify very low
signals, but the differential input range of the
Delta-Sigma modulator must not be exceeded.
*/
#define MCP356X_CFG_2_GAIN_X_64              0x38
#define MCP356X_CFG_2_GAIN_X_32              0x30
#define MCP356X_CFG_2_GAIN_X_16              0x28
#define MCP356X_CFG_2_GAIN_X_8               0x20
#define MCP356X_CFG_2_GAIN_X_4               0x18
#define MCP356X_CFG_2_GAIN_X_2               0x10
#define MCP356X_CFG_2_GAIN_X_1               0x08
#define MCP356X_CFG_2_GAIN_X_033             0x00
// Auto-Zeroing MUX Setting
#define MCP356X_CFG_2_AZ_MUX_EN              0x04
#define MCP356X_CFG_2_AZ_MUX_DIS             0x00
#define MCP356X_CFG_2_AZ_VREF_EN             0x02
#define MCP356X_CFG_2_AZ_VREF_DIS            0x00
// RESERVED[1:0]: Should always be equal to ‘11’
#define MCP356X_CFG_2_AZ_FREQ_HIGH           0x01
#define MCP356X_CFG_2_AZ_FREQ_LOW            0x00




/******************************************************************
8.5 CONFIG3 Register
Conversion mode, data and CRC format settings; enable for CRC on
communications, enable for digital offset and gain error calibrations
*******************************************************************/
// Conversion Mode Selection
#define MCP356X_CFG_3_CONV_MODE_CONT         0xC0
#define MCP356X_CFG_3_CONV_MODE_STANDBY      0x80
#define MCP356X_CFG_3_CONV_MODE_SHD          0x40
#define MCP356X_CFG_3_CONV_MODE_SHD0         0x00

// ADC Output Data Format Selection

// 32-bit (25-bit right justified data + Channel ID): CHID[3:0] + SGN extension (4 bits) + 24-bit ADC data. 
// It allows overrange with the SGN extension.
#define MCP356X_CFG_3_DATA_FORMAT_CH_ADC     0x30
// 32-bit (25-bit right justified data): SGN extension (8-bit) + 24-bit ADC data. It allows overrange with the SGN extension.
#define MCP356X_CFG_3_DATA_FORMAT_SIGN_ADC   0x20
// 32-bit (24-bit left justified data): 24-bit ADC data + 0x00 (8-bit). It does not allow overrange (ADC code locked to 0xFFFFFF or 0x800000).
#define MCP356X_CFG_3_DATA_FORMAT_LEFT_JUST  0x10
//24-bit (default ADC coding): 24-bit ADC data. It does not allow overrange (ADC code locked to 0xFFFFFF or 0x800000).
#define MCP356X_CFG_3_DATA_FORMAT_DEF        0x00

// CRC Checksum Format Selection on Read Communications
#define MCP356X_CFG_3_CRC_FORMAT_32          0x08
#define MCP356X_CFG_3_CRC_FORMAT_16          0x00
// CRC Checksum Selection on Read Communications (it does not affect CRCCFG calculations)
#define MCP356X_CFG_3_CRC_COM_EN             0x04
#define MCP356X_CFG_3_CRC_COM_DIS            0x00
// Enable Digital Offset Calibration
#define MCP356X_CFG_3_CRC_OFF_CAL_EN         0x02
#define MCP356X_CFG_3_CRC_OFF_CAL_DIS        0x00
// Enable Digital Gain Calibration
#define MCP356X_CFG_3_CRC_GAIN_CAL_EN        0x01
#define MCP356X_CFG_3_CRC_GAIN_CAL_DIS       0x00



/*******************************************************************
8.6 IRQ Register
IRQ Status bits and IRQ mode settings; enable for Fast commands and
for conversion start pulse
*******************************************************************/
#define MCP356X_IRQ_MODE_MDAT                0x08
#define MCP356X_IRQ_MODE_IRQ                 0x00
#define MCP356X_IRQ_MODE_LOGIC_HIGH          0x04
#define MCP356X_IRQ_MODE_HIGH_Z              0x00
#define MCP356X_IRQ_FASTCMD_EN               0x02
#define MCP356X_IRQ_FASTCMD_DIS              0x00
#define MCP356X_IRQ_STP_EN                   0x01
#define MCP356X_IRQ_STP_DIS                  0x00

#define MCP356X_IRQ_MASK_EN_STP        0x01
#define MCP356X_IRQ_MASK_EN_FASTCMD    0x02
#define MCP356X_IRQ_MASK_MODE0         0x04
#define MCP356X_IRQ_MASK_MODE1         0x08
#define MCP356X_IRQ_MASK_POR_STATUS    0x10
#define MCP356X_IRQ_MASK_CRCCFG_STATUS 0x20
#define MCP356X_IRQ_MASK_DR_STATUS     0x40
#define MCP356X_IRQ_MASK_UNIMPLEMENTED 0x80



/*******************************************************************
8.7 MULTIPLEXER (MUX) REGISTER
Analog multiplexer input selection (MUX mode only)
*******************************************************************/
// Bit 7-4 MUX_VIN+ Input Selection
#define MCP356X_MUX_VIN_POS_VCM              0xF0 // 1111 0000 Internal VCM
#define MCP356X_MUX_VIN_POS_TEMP_M           0xE0 // 1110 0000 Internal Temperature Sensor Diode M (Temp Diode M)(1)
#define MCP356X_MUX_VIN_POS_TEMP_P           0xD0 // 1101 0000 Internal Temperature Sensor Diode P (Temp Diode P)(1)
#define MCP356X_MUX_VIN_POS_VREF_EXT_MINUS   0xC0 // 1100 0000
#define MCP356X_MUX_VIN_POS_VREF_EXT_PLUS    0xB0 // 1011 0000
#define MCP356X_MUX_VIN_POS_VREF_INT         0xA0 // 1010 0000 Reserved (do not use)
#define MCP356X_MUX_VIN_POS_AVDD             0x90 // 1001 0000
#define MCP356X_MUX_VIN_POS_AGND             0x80 // 1000 0000
#define MCP356X_MUX_VIN_POS_CH7              0x70 // 0111 0000
#define MCP356X_MUX_VIN_POS_CH6              0x60 // 0110 0000
#define MCP356X_MUX_VIN_POS_CH5              0x50 // 0101 0000
#define MCP356X_MUX_VIN_POS_CH4              0x40 // 0100 0000
#define MCP356X_MUX_VIN_POS_CH3              0x30 // 0011 0000
#define MCP356X_MUX_VIN_POS_CH2              0x20 // 0010 0000
#define MCP356X_MUX_VIN_POS_CH1              0x10 // 0001 0000
#define MCP356X_MUX_VIN_POS_CH0              0x00 // 0000 0000
// Bit 3-0 MUX_VIN- Input Selection
#define MCP356X_MUX_VIN_NEG_VCM              0x0F // 0000 1111
#define MCP356X_MUX_VIN_NEG_TEMP_M           0x0E // 0000 1110 Internal Temperature Sensor Diode M (Temp Diode M)(1)
#define MCP356X_MUX_VIN_NEG_TEMP_P           0x0D // 0000 1101 Internal Temperature Sensor Diode P (Temp Diode P)(1)
#define MCP356X_MUX_VIN_NEG_VREF_EXT_MINUS   0x0C // 0000 1100
#define MCP356X_MUX_VIN_NEG_VREF_EXT_PLUS    0x0B // 0000 1011
#define MCP356X_MUX_VIN_NEG_VREF_INT         0x0A // 0000 1010 Reserved (do not use)
#define MCP356X_MUX_VIN_NEG_AVDD             0x09 // 0000 1001
#define MCP356X_MUX_VIN_NEG_AGND             0x08 // 0000 1000
#define MCP356X_MUX_VIN_NEG_CH7              0x07 // 0000 0111
#define MCP356X_MUX_VIN_NEG_CH6              0x06 // 0000 0110
#define MCP356X_MUX_VIN_NEG_CH5              0x05 // 0000 0101
#define MCP356X_MUX_VIN_NEG_CH4              0x04 // 0000 0100
#define MCP356X_MUX_VIN_NEG_CH3              0x03 // 0000 0011
#define MCP356X_MUX_VIN_NEG_CH2              0x02 // 0000 0010
#define MCP356X_MUX_VIN_NEG_CH1              0x01 // 0000 0001
#define MCP356X_MUX_VIN_NEG_CH0              0x00 // 0000 0000




/* 8.8 SCAN Register
Bit 23-21 DLY[2:0]: Delay Time (TDLY_SCAN) Between Each Conversion During a Scan Cycle

When in SCAN mode, the MUX register (address: 0x6)
becomes a Don’t Care register.

When SCAN[15:0] = 0x0000, SCAN mode is dis-
abled and the part returns to MUX mode, where the
input channel selection is defined by the MUX[7:0] bits.
*/
#define MCP356X_SCAN_DLY_DM_CLK_X_512        0x00E00000
#define MCP356X_SCAN_DLY_DM_CLK_X_256        0x00C00000
#define MCP356X_SCAN_DLY_DM_CLK_X_128        0x00A00000
#define MCP356X_SCAN_DLY_DM_CLK_X_64         0x00800000
#define MCP356X_SCAN_DLY_DM_CLK_X_32         0x00600000
#define MCP356X_SCAN_DLY_DM_CLK_X_16         0x00400000
#define MCP356X_SCAN_DLY_DM_CLK_X_8          0x00200000
#define MCP356X_SCAN_DLY_NO_DELAY            0x00000000
//Bit 19-16 Unimplemented: Read as ‘0’
#define MCP356X_SCAN_PSAV_VREF_OFF           0x00100000
#define MCP356X_SCAN_PSAV_VREF_ON            0x00000000
// Bit 15-0 Scan Channel Selection (see Table 5-14 for a complete description)
#define MCP356X_SCAN_OFFSET                  0x00008000
#define MCP356X_SCAN_VREF                    0x00004000
#define MCP356X_SCAN_AVDD                    0x00002000
#define MCP356X_SCAN_TEMP                    0x00001000
#define MCP356X_SCAN_DIFF_D                  0x00000800
#define MCP356X_SCAN_DIFF_C                  0x00000400
#define MCP356X_SCAN_DIFF_B                  0x00000200
#define MCP356X_SCAN_DIFF_A                  0x00000100
#define MCP356X_SCAN_CH7                     0x00000080
#define MCP356X_SCAN_CH6                     0x00000040
#define MCP356X_SCAN_CH5                     0x00000020
#define MCP356X_SCAN_CH4                     0x00000010
#define MCP356X_SCAN_CH3                     0x00000008
#define MCP356X_SCAN_CH2                     0x00000004
#define MCP356X_SCAN_CH1                     0x00000002
#define MCP356X_SCAN_CH0                     0x00000001


/*
5.14.3.4 VCM Reading (V CM )
During the conversion that reads VCM , the device
monitors the internal Common-mode voltage of the
device in order to ensure proper operation.
The VCM voltage of the device should be located at
1.2V ± 2% to ensure proper accuracy. With this setting,
the internal multiplexer setting becomes 0xF8
(VCM – AGND). In order to properly measure VCM , the
reference voltage must be larger than 1.2V.
During the VCM reading, the gain of the ADC is set to 1x
regardless of the GAIN[2:0] settings. This temporary inter-
nal configuration does not change the register setting, it
impacts the gain of the device during this conversion.
The VCM reading is susceptible to the gain and offset
errors of the ADC, which should be calibrated to obtain
a precise internal Common-mode measurement.

Differential Channel D (CH6-CH7) 1011 0x67 None
10 Differential Channel C (CH4-CH5) 1010 0x45 None
9 Differential Channel B (CH2-CH3) 1001 0x23 None
8 Differential Channel A (CH0-CH1)
*/

#define MCP356X_CHANNEL_COUNT 16
#define MCP356X_CH_OFFSET   15
#define MCP356X_CH_VCM      14
#define MCP356X_CH_AVDD     13
#define MCP356X_CH_TEMP     12
#define MCP356X_CH_DIFF_D   11 // Differential Channel D (CH6-CH7)
#define MCP356X_CH_DIFF_C   10 // Differential Channel C (CH4-CH5)
#define MCP356X_CH_DIFF_B   9 // Differential Channel B (CH2-CH3)
#define MCP356X_CH_DIFF_A   8 // Differential Channel A (CH0-CH1)
#define MCP356X_CH_CH7      7
#define MCP356X_CH_CH6      6
#define MCP356X_CH_CH5      5
#define MCP356X_CH_CH4      4
#define MCP356X_CH_CH3      3
#define MCP356X_CH_CH2      2
#define MCP356X_CH_CH1      1
#define MCP356X_CH_CH0      0



// 8.9 TIMER Register
#define MCP356X_TIMER_DLY_DMCLK_X_16777215   0x00FFFFFF
#define MCP356X_TIMER_DLY_DMCLK_X_8388607    0x007FFFFF
#define MCP356X_TIMER_DLY_DMCLK_X_4194303    0x003FFFFF
#define MCP356X_TIMER_DLY_DMCLK_X_2097151    0x001FFFFF
#define MCP356X_TIMER_DLY_DMCLK_X_1048575    0x000FFFFF
#define MCP356X_TIMER_DLY_DMCLK_X_524287     0x0007FFFF
#define MCP356X_TIMER_DLY_DMCLK_X_262143     0x0003FFFF
#define MCP356X_TIMER_DLY_DMCLK_X_131071     0x0001FFFF
#define MCP356X_TIMER_DLY_DMCLK_X_65535      0x0000FFFF
#define MCP356X_TIMER_DLY_DMCLK_X_32767      0x00007FFF
#define MCP356X_TIMER_DLY_DMCLK_X_16383      0x00003FFF
#define MCP356X_TIMER_DLY_DMCLK_X_8191       0x00001FFF
#define MCP356X_TIMER_DLY_DMCLK_X_4095       0x00000FFF
#define MCP356X_TIMER_DLY_DMCLK_X_2047       0x000007FF
#define MCP356X_TIMER_DLY_DMCLK_X_1023       0x000003FF
#define MCP356X_TIMER_DLY_DMCLK_X_511        0x000001FF
#define MCP356X_TIMER_DLY_DMCLK_X_255        0x000000FF
#define MCP356X_TIMER_DLY_DMCLK_X_127        0x0000007F
#define MCP356X_TIMER_DLY_DMCLK_X_63         0x0000003F
#define MCP356X_TIMER_DLY_DMCLK_X_31         0x0000001F
#define MCP356X_TIMER_DLY_DMCLK_X_15         0x0000000F
#define MCP356X_TIMER_DLY_DMCLK_X_2          0x00000002
#define MCP356X_TIMER_DLY_DMCLK_X_1          0x00000001
#define MCP356X_TIMER_DLY_NO_DELAY           0x00000000

#define MCP356X_FAST_CMD_ADC_CONV_START      0x28
#define MCP356X_FAST_CMD_ADC_STANDBY_MODE    0x2C
#define MCP356X_FAST_CMD_ADC_SHUTDOWN_MODE   0x30
#define MCP356X_FAST_CMD_FULL_SHUTDOWN_MODE  0x34
#define MCP356X_FAST_CMD_DEV_FULL_RESET      0x38

#define MCP356X_CALC_COEF                    8388608


#define MCP356X_PRINTF_HEADER "OFFST VCM   AVDD  TEMP  DIFFD DIFFC DIFFB DIFFA CH7   CH6   CH5   CH4   CH3   CH2   CH1   CH0"
#define MCP356X_PRINTF_PLUS   "%+05i %+05i %+05i %+05i %+05i %+05i %+05i %+05i %+05i %+05i %+05i %+05i %+05i %+05i %+05i %+05i"
#define MCP356X_PRINTF "%05i %05i %05i %05i %05i %05i %05i %05i %05i %05i %05i %05i %05i %05i %05i %05i"
#define MCP356X_ARGS(x) \
(x)[MCP356X_CH_OFFSET],  \
(x)[MCP356X_CH_VCM],  \
(x)[MCP356X_CH_AVDD],  \
(x)[MCP356X_CH_TEMP],  \
(x)[MCP356X_CH_DIFF_D],  \
(x)[MCP356X_CH_DIFF_C],  \
(x)[MCP356X_CH_DIFF_B],  \
(x)[MCP356X_CH_DIFF_A],  \
(x)[MCP356X_CH_CH7],  \
(x)[MCP356X_CH_CH6],  \
(x)[MCP356X_CH_CH5],  \
(x)[MCP356X_CH_CH4],  \
(x)[MCP356X_CH_CH3],  \
(x)[MCP356X_CH_CH2],  \
(x)[MCP356X_CH_CH1],  \
(x)[MCP356X_CH_CH0]



char const * MCP356X_REG_tostring(int a);

int64_t MCP356X_raw_to_volt(int32_t raw, int32_t vref, uint8_t gain_reg);

void MCP356X_ADC_DATA_decode_11(uint8_t rx[5], int32_t * out_value, uint8_t * out_channel);
uint32_t MCP356X_get_len(uint8_t reg);
uint32_t MCP356X_get_value(uint8_t rx[5], uint8_t len);
void MCP356X_set_value(uint8_t tx[5], uint8_t len, uint32_t value);
uint8_t MCP356X_get_scan_channel_gain(uint8_t channel);
uint8_t MCP356X_channel_to_mux(uint8_t channel);



char const * MCP356X_MUX_POS_to_str(uint32_t value);
char const * MCP356X_MUX_NEG_to_str(uint32_t value);

double MCP356X_ADCDATA_to_temperature_o1(int32_t adcdata);
double MCP356X_ADCDATA_to_temperature_o3(int32_t adcdata);
```

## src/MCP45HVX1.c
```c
#include "MCP45HVX1.h"
/*
https://ww1.microchip.com/downloads/en/DeviceDoc/20005304A.pdf
https://github.com/h-ALO/h-ALO-zephyr-app/blob/main/app/src/dpot.c
https://github.com/WifWaf/MCP45HVX1/blob/master/src/MCP45HVX1.cpp


S 0 1 1 1 1 A1 A0 rw A


*/


char const * MCP45HVX1_REG_tostring(int a)
{
	switch(a)
	{
	case MCP45HVX1_MEM_WIPER : return "MEM_WIPER ";
	case MCP45HVX1_MEM_TCON  : return "MEM_TCON  ";
	default:return "";
	}
}
```

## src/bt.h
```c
/*
https://github.com/zephyrproject-rtos/zephyr/issues/50655
*/

void mybt_init(void);
void mybt_progress(void);
```

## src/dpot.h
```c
#pragma once
#include <zephyr/drivers/i2c.h>

// MCP45HVX1
struct mcp45hvx1_config {
	const struct i2c_dt_spec bus;
};


int dpot_set(struct mcp45hvx1_config * config, int value);

int dpot_setup(struct mcp45hvx1_config * config);
```
